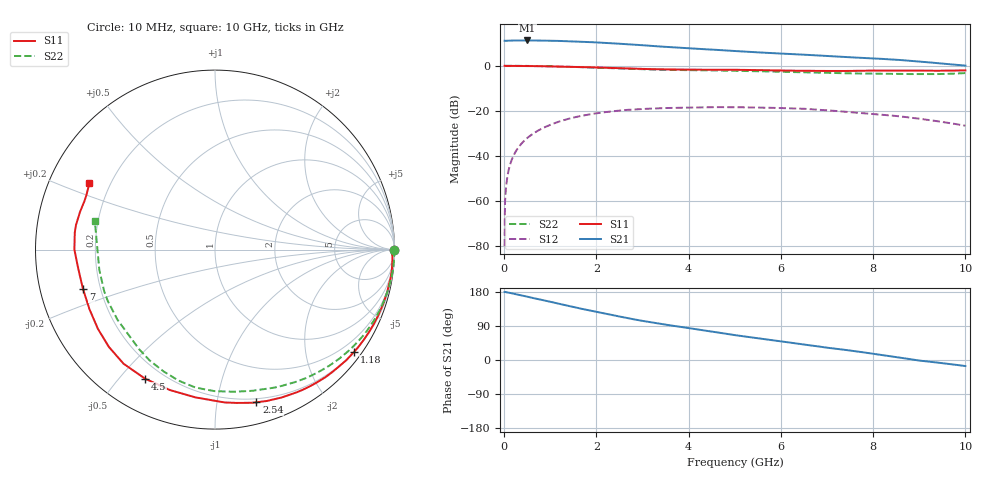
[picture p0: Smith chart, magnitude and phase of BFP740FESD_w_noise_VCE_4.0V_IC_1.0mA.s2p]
! Infineon Technologies  Discrete & RF Semiconductors
! BFP740FESD
! VCE =  4.0 V,  IC =  1.0 mA
! Common Emitter S-Parameters:  Jan 2016
# GHz  S  MA  R  50
!  f  S11  S21  S12  S22
! GHz  MAG  ANG  MAG  ANG  MAG  ANG  MAG  ANG
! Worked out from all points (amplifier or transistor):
!   233 points, 10 MHz to 10 GHz, reference 50 ohm
!   highest |S21| = 11.2 dB at 500 MHz (marker M1)
!   |S21| within 3 dB of that: start of sweep to 3.617 GHz
!   unconditionally stable (mu >= 1): 8.863 GHz to end of sweep
!   at 200 MHz: K = 0.01, MSG = 25.6 dB, |S12| = -40.0 dB
!   at 1.74 GHz: K = 0.09, MSG = 16.3 dB, |S12| = -22.0 dB
!   at 10 GHz: K = 1.66, MAG = 8.6 dB, |S12| = -26.6 dB
!   lowest NFmin = 0.46 dB at 450 MHz
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0.01  1 0.0  3.59 179.3  0.0001 -50.4  0.9974 0.0
0.015  0.9958 -0.3  3.581 179.5  0.0005 76.2  0.998 -0.3
0.02  0.9916 -0.6  3.572 179.8  0.001 80.8  0.9987 -0.5
0.05  0.9875 -1.6  3.588 178.6  0.0025 85.1  0.9991 -1.1
0.09  0.9898 -2.7  3.601 178.0  0.0045 85.9  0.9989 -2.0
0.24  0.9913 -7.4  3.62 173.9  0.012 83.8  0.998 -5.4
0.5  0.9863 -15.4  3.639 167.1  0.025 78.3  0.9925 -11.3
0.9  0.9741 -27.8  3.603 156.3  0.0444 68.9  0.9781 -20.3
1.18  0.962 -36.4  3.554 148.7  0.0574 62.1  0.9632 -26.7
1.68  0.9347 -51.4  3.41 135.1  0.0776 50.0  0.93 -38.3
2.2  0.9039 -65.7  3.21 122.0  0.094 38.4  0.8929 -49.9
2.54  0.8813 -74.8  3.062 113.8  0.1025 31.1  0.8675 -57.3
3  0.8534 -86.4  2.853 103.2  0.1106 21.8  0.8376 -66.6
3.4  0.8325 -95.3  2.664 95.3  0.1143 14.8  0.8172 -73.4
4.5  0.8178 -118.5  2.288 74.9  0.1212 -1.8  0.7886 -90.2
5.1  0.8108 -130.4  2.095 64.1  0.1204 -10.9  0.7715 -99.5
6  0.7877 -145.9  1.87 49.1  0.1158 -23.7  0.7366 -112.9
6.8  0.768 -159.8  1.691 36.0  0.1064 -34.9  0.7044 -124.5
7  0.7674 -163.3  1.651 32.5  0.1035 -37.8  0.6979 -127.2
8.4  0.7869 173.1  1.381 9.4  0.0787 -51.6  0.6626 -154.4
9  0.7806 164.2  1.244 -1.5  0.067 -57.6  0.6545 -170.0
10  0.7913 152.1  1.009 -16.0  0.0468 -61.2  0.6884 166.6
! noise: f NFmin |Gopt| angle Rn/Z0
0.45  0.46  0.83  8  0.43
2.4  0.9  0.62  51  0.38
5.5  1.25  0.67  126  0.17
10  2.91  0.64  -148  0.23
